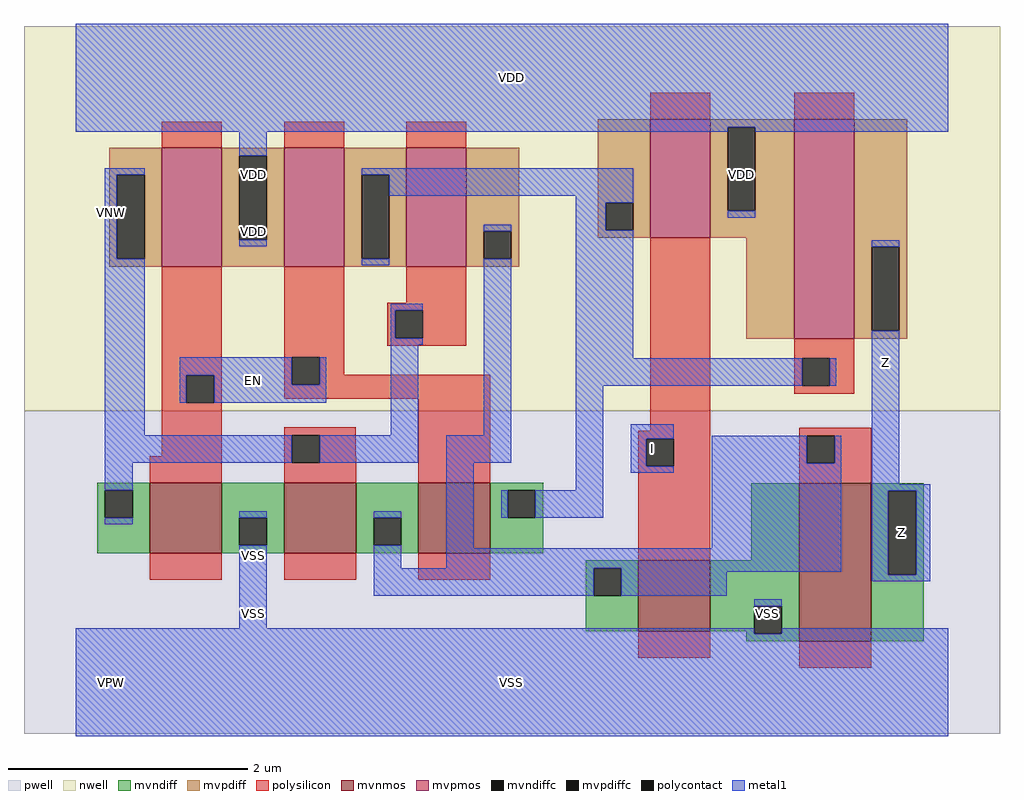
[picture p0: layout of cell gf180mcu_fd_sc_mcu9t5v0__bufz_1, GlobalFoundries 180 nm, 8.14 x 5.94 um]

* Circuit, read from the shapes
.subckt gf180mcu_fd_sc_mcu9t5v0__bufz_1 EN I Z VDD VNW VPW VSS
XM1 VSS EN n1 VPW nfet_06v0 w=0.59u l=0.6u
XM2 n2 n1 VSS VPW nfet_06v0 w=0.59u l=0.6u
XM3 n3 EN n2 VPW nfet_06v0 w=0.59u l=0.6u
XM4 VSS I n2 VPW nfet_06v0 w=0.59u l=0.6u
XM5 Z n2 VSS VPW nfet_06v0 w=1.32u l=0.6u
XM6 VDD EN n1 VNW pfet_06v0 w=0.99u l=0.5u
XM7 n3 EN VDD VNW pfet_06v0 w=0.99u l=0.5u
XM8 n2 n1 n3 VNW pfet_06v0 w=0.99u l=0.5u
XM9 VDD I n3 VNW pfet_06v0 w=0.99u l=0.5u
XM10 Z n3 VDD VNW pfet_06v0 w=1.83u l=0.5u
.ends

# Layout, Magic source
magic
tech gf180mcuD
magscale 1 10
<< nwell >>
rect -86 453 1542 1094
<< pwell >>
rect -86 -86 1542 453
<< mvnmos >>
rect 124 215 244 333
rect 348 215 468 333
rect 572 215 692 333
rect 939 85 1059 203
rect 1207 68 1327 332
<< mvpmos >>
rect 144 693 244 891
rect 348 693 448 891
rect 552 693 652 891
rect 959 741 1059 939
rect 1199 573 1299 939
<< mvndiff >>
rect 36 320 124 333
rect 36 274 49 320
rect 95 274 124 320
rect 36 215 124 274
rect 244 274 348 333
rect 244 228 273 274
rect 319 228 348 274
rect 244 215 348 228
rect 468 274 572 333
rect 468 228 497 274
rect 543 228 572 274
rect 468 215 572 228
rect 692 320 780 333
rect 692 274 721 320
rect 767 274 780 320
rect 692 215 780 274
rect 1127 203 1207 332
rect 851 190 939 203
rect 851 144 864 190
rect 910 144 939 190
rect 851 85 939 144
rect 1059 127 1207 203
rect 1059 85 1132 127
rect 1119 81 1132 85
rect 1178 81 1207 127
rect 1119 68 1207 81
rect 1327 319 1415 332
rect 1327 179 1356 319
rect 1402 179 1415 319
rect 1327 68 1415 179
<< mvpdiff >>
rect 56 846 144 891
rect 56 706 69 846
rect 115 706 144 846
rect 56 693 144 706
rect 244 878 348 891
rect 244 738 273 878
rect 319 738 348 878
rect 244 693 348 738
rect 448 846 552 891
rect 448 706 477 846
rect 523 706 552 846
rect 448 693 552 706
rect 652 752 740 891
rect 652 706 681 752
rect 727 706 740 752
rect 871 800 959 939
rect 871 754 884 800
rect 930 754 959 800
rect 871 741 959 754
rect 1059 926 1199 939
rect 1059 786 1088 926
rect 1134 786 1199 926
rect 1059 741 1199 786
rect 652 693 740 706
rect 1119 573 1199 741
rect 1299 726 1387 939
rect 1299 586 1328 726
rect 1374 586 1387 726
rect 1299 573 1387 586
<< mvndiffc >>
rect 49 274 95 320
rect 273 228 319 274
rect 497 228 543 274
rect 721 274 767 320
rect 864 144 910 190
rect 1132 81 1178 127
rect 1356 179 1402 319
<< mvpdiffc >>
rect 69 706 115 846
rect 273 738 319 878
rect 477 706 523 846
rect 681 706 727 752
rect 884 754 930 800
rect 1088 786 1134 926
rect 1328 586 1374 726
<< polysilicon >>
rect 959 939 1059 983
rect 1199 939 1299 983
rect 144 891 244 935
rect 348 891 448 935
rect 552 891 652 935
rect 144 512 244 693
rect 144 466 185 512
rect 231 466 244 512
rect 348 542 448 693
rect 552 633 652 693
rect 520 620 652 633
rect 520 574 533 620
rect 579 574 652 620
rect 520 561 652 574
rect 348 496 361 542
rect 407 513 448 542
rect 407 496 692 513
rect 348 473 692 496
rect 144 377 244 466
rect 124 333 244 377
rect 348 412 467 425
rect 348 366 361 412
rect 407 377 467 412
rect 407 366 468 377
rect 348 333 468 366
rect 572 333 692 473
rect 959 419 1059 741
rect 1199 540 1299 573
rect 1199 494 1212 540
rect 1258 494 1299 540
rect 1199 481 1299 494
rect 939 406 1059 419
rect 939 360 952 406
rect 998 360 1059 406
rect 124 171 244 215
rect 348 171 468 215
rect 572 171 692 215
rect 939 203 1059 360
rect 1207 411 1327 424
rect 1207 365 1220 411
rect 1266 365 1327 411
rect 1207 332 1327 365
rect 939 41 1059 85
rect 1207 24 1327 68
<< polycontact >>
rect 185 466 231 512
rect 533 574 579 620
rect 361 496 407 542
rect 361 366 407 412
rect 1212 494 1258 540
rect 952 360 998 406
rect 1220 365 1266 411
<< metal1 >>
rect 0 926 1456 1098
rect 0 918 1088 926
rect 273 878 319 918
rect 49 846 115 857
rect 49 706 69 846
rect 273 727 319 738
rect 477 846 930 857
rect 49 412 115 706
rect 523 811 930 846
rect 834 800 930 811
rect 477 695 523 706
rect 681 752 727 763
rect 526 620 579 631
rect 526 574 533 620
rect 526 563 579 574
rect 174 512 361 542
rect 174 466 185 512
rect 231 496 361 512
rect 407 496 418 542
rect 231 466 418 496
rect 526 412 572 563
rect 681 412 727 706
rect 49 366 361 412
rect 407 366 572 412
rect 618 366 727 412
rect 834 754 884 800
rect 1134 918 1456 926
rect 1088 775 1134 786
rect 834 540 930 754
rect 1328 726 1374 737
rect 834 494 1212 540
rect 1258 494 1269 540
rect 49 320 95 366
rect 49 263 95 274
rect 273 274 319 285
rect 273 90 319 228
rect 497 274 543 285
rect 497 190 543 228
rect 618 223 664 366
rect 834 320 880 494
rect 926 406 998 430
rect 926 360 952 406
rect 926 349 998 360
rect 1061 365 1220 411
rect 1266 365 1277 411
rect 710 274 721 320
rect 767 274 880 320
rect 1061 223 1277 365
rect 618 190 1277 223
rect 497 144 864 190
rect 910 184 1277 190
rect 1328 330 1374 586
rect 1328 319 1426 330
rect 910 144 1086 184
rect 1328 179 1356 319
rect 1402 179 1426 319
rect 1328 168 1426 179
rect 1132 127 1178 138
rect 0 81 1132 90
rect 1178 81 1456 90
rect 0 -90 1456 81
<< labels >>
flabel metal1 s 174 466 418 542 0 FreeSans 200 0 0 0 EN
port 1 nsew default input
flabel metal1 s 926 349 998 430 0 FreeSans 200 0 0 0 I
port 2 nsew default input
flabel metal1 s 0 918 1456 1098 0 FreeSans 200 0 0 0 VDD
port 4 nsew power bidirectional abutment
flabel metal1 s 273 138 319 285 0 FreeSans 200 0 0 0 VSS
port 7 nsew ground bidirectional abutment
flabel metal1 s 1328 330 1374 737 0 FreeSans 200 0 0 0 Z
port 3 nsew default output
flabel nwell s 10 734 110 834 0 FreeSans 400 0 0 0 VNW
port 5 nsew power bidirectional
flabel pwell s 10 -50 110 50 0 FreeSans 400 0 0 0 VPW
port 6 nsew ground bidirectional
rlabel metal1 s 1328 168 1426 330 1 Z
port 3 nsew default output
rlabel metal1 s 1088 775 1134 918 1 VDD
port 4 nsew power bidirectional abutment
rlabel metal1 s 273 775 319 918 1 VDD
port 4 nsew power bidirectional abutment
rlabel metal1 s 273 727 319 775 1 VDD
port 4 nsew power bidirectional abutment
rlabel metal1 s 1132 90 1178 138 1 VSS
port 7 nsew ground bidirectional abutment
rlabel metal1 s 273 90 319 138 1 VSS
port 7 nsew ground bidirectional abutment
rlabel metal1 s 0 -90 1456 90 1 VSS
port 7 nsew ground bidirectional abutment
<< properties >>
string FIXED_BBOX 0 0 1456 1008
string GDS_END 1330110
string GDS_FILE $PDKPATH/libs.ref/gf180mcu_fd_sc_mcu9t5v0/gds/gf180mcu_fd_sc_mcu9t5v0.gds
string GDS_START 1325402
string LEFclass core
string LEFsite GF018hv5v_green_sc9
string LEFsymmetry X Y
string MASKHINTS_DUALGATE -56 1063 1512 1064 -56 1015 879 1063 -56 939 64 1015 732 987 879 1015 1379 987 1512 1063 732 939 823 987 -56 645 8 939 788 645 879 693 -56 457 64 645 772 499 879 645 1435 525 1512 987 -56 381 44 457 -56 167 -12 381 1407 380 1512 525 -56 91 44 167 -56 37 803 91 -56 -39 859 37 1463 20 1512 380 -56 -56 1127 -39 1407 -56 1512 20
string MASKHINTS_NPLUS -40 379 1496 453 -40 365 78 379 738 378 1496 379 738 365 1161 378 -40 183 4 365 812 364 1161 365 1373 364 1496 378 812 249 1095 364 812 235 893 249 -40 169 78 183 738 169 819 183 -40 53 819 169 -40 39 893 53 -40 36 1087 39 1447 36 1496 364 -40 22 1161 36 1373 22 1496 36 -40 -40 1496 22
string MASKHINTS_PPLUS -40 985 1496 1048 -40 971 913 985 1345 971 1496 985 -40 937 839 971 -40 923 98 937 698 923 839 937 -40 661 24 923 772 695 913 709 772 661 1087 695 -40 647 98 661 698 647 1087 661 -40 541 1087 647 1419 541 1496 971 -40 527 1153 541 1345 527 1496 541 -40 453 1496 527
<< end >>
